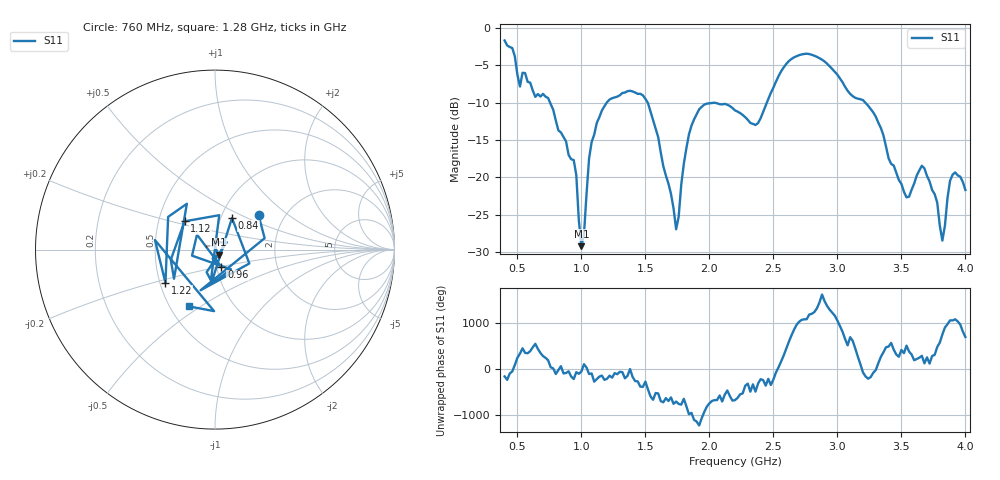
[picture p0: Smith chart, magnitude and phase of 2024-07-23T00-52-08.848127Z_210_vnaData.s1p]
!Created with skrf (http://scikit-rf.org).
# Hz S RI R 50.0
!freq ReS11 ImS11
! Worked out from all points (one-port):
!   181 points, 400 MHz to 4 GHz, reference 50 ohm
!   lowest |S11| = -29.2 dB at 1 GHz (marker M1), VSWR 1.07, Z = 52 - j2.94 ohm
!   |S11| at or under -10 dB: 755.5 MHz to 1.198 GHz (442.2 MHz wide, 45.3 % of centre); 1.518 GHz to 2.039 GHz (521 MHz wide, 29.3 % of centre); 3.219 GHz to end of sweep (the widest 3 of 4)
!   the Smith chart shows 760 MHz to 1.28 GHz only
!   S11 on the Smith chart (normalised r, x): 760 MHz: 1.48, +0.63; 840 MHz: 1.13, +0.41; 960 MHz: 1.05, -0.21; 1.12 GHz: 0.68, +0.23; 1.22 GHz: 0.54, -0.22; 1.28 GHz: 0.63, -0.45
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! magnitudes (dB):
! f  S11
! 400 MHz  -1.7
! 520 MHz  -7.8
! 760 MHz  -10.2
! 840 MHz  -14.0
! 860 MHz  -14.6
! 960 MHz  -19.7
! 1 GHz  -29.2
! 1.02 GHz  -27.7
! 1.06 GHz  -17.4
! 1.12 GHz  -12.7
! 1.22 GHz  -9.6
! 1.28 GHz  -9.2
! 1.3 GHz  -9.0
! 1.52 GHz  -10.0
! 1.74 GHz  -26.9
! 1.76 GHz  -25.3
! 1.84 GHz  -14.3
! 1.92 GHz  -10.9
! 2.2 GHz  -11.0
! 2.38 GHz  -12.7
! 2.66 GHz  -3.9
! 3.1 GHz  -8.8
! 3.3 GHz  -11.9
! 3.56 GHz  -22.6
! 3.68 GHz  -18.8
! 3.82 GHz  -28.5
! 3.9 GHz  -19.6
! 4 GHz  -21.7
